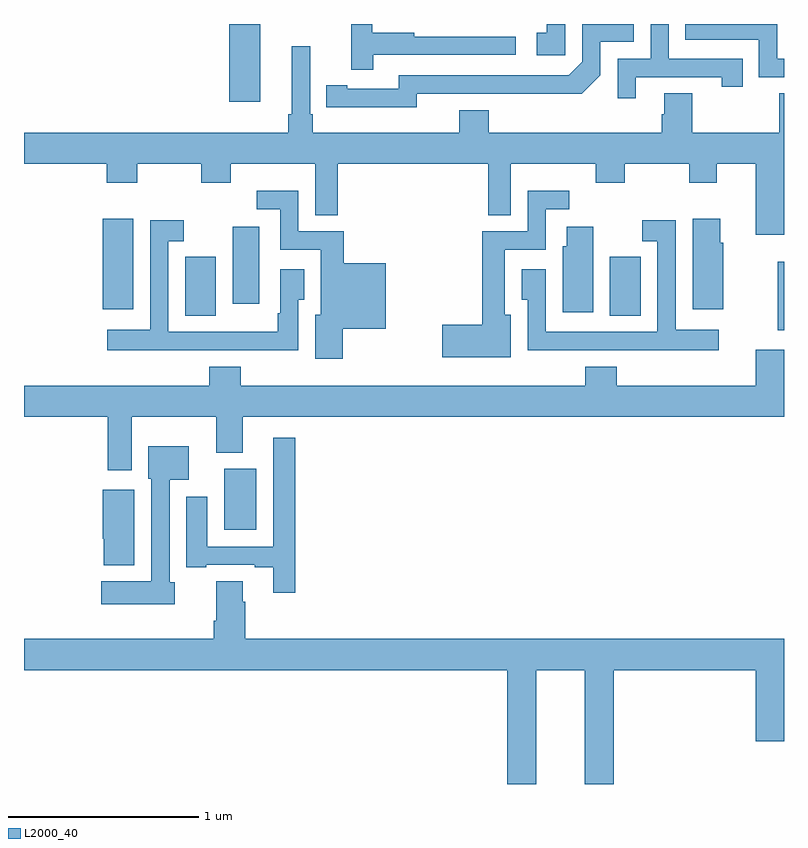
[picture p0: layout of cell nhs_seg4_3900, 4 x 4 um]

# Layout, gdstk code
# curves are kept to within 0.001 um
import gdstk
lib = gdstk.Library(unit=1e-6, precision=1e-09)
def R(c, l, rs):  # rectangles x0, y0, x1, y1
    for r in rs: c.add(gdstk.rectangle(r[:2], r[2:], *l))
def P(c, l, *ps):  # polygons
    for p in ps: c.add(gdstk.Polygon(p, *l))
L2000_40 = (2000, 40)

nhs_seg4_3900 = lib.new_cell('nhs_seg4_3900')
R(nhs_seg4_3900, L2000_40, [(318.053,784.238,318.223,784.558), (320.966,785.289,321,785.648), (317.849,785.365,318.01,785.676), (320.084,785.365,320.245,785.676), (317.414,785.4,317.575,785.875), (318.098,785.427,318.238,785.833), (318.08,786.492,318.244,786.9)])
P(nhs_seg4_3900, L2000_40, [(320.221,786.621),(320.672,786.621),(320.672,786.57),(320.783,786.57),(320.783,786.717),(320.394,786.717),(320.394,786.9),(320.298,786.9),(320.298,786.717),(320.124,786.717),(320.124,786.51),(320.221,786.51)],
  [(319.848,786.9),(319.751,786.9),(319.751,786.855),(319.698,786.855),(319.698,786.735),(319.848,786.735)],
  [(319.068,786.534),(319.936,786.533),(320.034,786.63),(320.034,786.807),(320.208,786.807),(320.208,786.9),(319.938,786.9),(319.938,786.702),(319.866,786.63),(318.972,786.63),(318.972,786.558),(318.7,786.558),(318.7,786.578),(318.592,786.578),(318.592,786.462),(319.068,786.461)],
  [(318.839,786.738),(319.588,786.738),(319.588,786.834),(319.055,786.834),(319.055,786.854),(318.832,786.854),(318.832,786.9),(318.722,786.9),(318.722,786.66),(318.839,786.66)],
  [(321,786.717),(320.964,786.717),(320.964,786.9),(320.479,786.9),(320.479,786.816),(320.868,786.816),(320.868,786.621),(321,786.621)],
  [(321,786.536),(320.974,786.536),(320.974,786.328),(320.517,786.328),(320.517,786.536),(320.369,786.536),(320.369,786.426),(320.357,786.426),(320.357,786.328),(319.445,786.328),(319.445,786.445),(319.292,786.445),(319.292,786.328),(318.521,786.328),(318.521,786.424),(318.507,786.424),(318.507,786.784),(318.41,786.784),(318.41,786.424),(318.391,786.424),(318.391,786.328),(317,786.328),(317,786.164),(317.435,786.164),(317.435,786.065),(317.595,786.065),(317.595,786.164),(317.932,786.164),(317.932,786.065),(318.087,786.065),(318.087,786.164),(318.533,786.164),(318.533,785.893),(318.652,785.893),(318.652,786.164),(319.443,786.164),(319.443,785.893),(319.561,785.893),(319.561,786.164),(320.008,786.164),(320.008,786.065),(320.163,786.065),(320.163,786.164),(320.5,786.164),(320.5,786.065),(320.647,786.065),(320.647,786.164),(320.852,786.164),(320.852,785.79),(321,785.79)],
  [(319.561,785.371),(319.531,785.371),(319.531,785.712),(319.746,785.712),(319.746,785.925),(319.87,785.925),(319.87,786.022),(319.65,786.022),(319.65,785.808),(319.413,785.808),(319.413,785.318),(319.2,785.318),(319.2,785.147),(319.561,785.147)],
  [(318.677,785.297),(318.904,785.297),(318.904,785.641),(318.682,785.641),(318.682,785.808),(318.444,785.808),(318.444,786.022),(318.225,786.022),(318.225,785.925),(318.348,785.925),(318.348,785.712),(318.563,785.712),(318.563,785.371),(318.533,785.371),(318.533,785.139),(318.677,785.139)],
  [(320.68,785.748),(320.665,785.748),(320.665,785.875),(320.519,785.875),(320.519,785.4),(320.68,785.4)],
  [(319.871,785.184),(320.237,785.184),(320.237,785.183),(320.656,785.183),(320.656,785.29),(320.43,785.29),(320.43,785.866),(320.253,785.866),(320.253,785.757),(320.334,785.757),(320.334,785.28),(319.746,785.28),(319.746,785.608),(319.619,785.608),(319.619,785.449),(319.65,785.449),(319.65,785.183),(319.871,785.183)],
  [(317.857,785.184),(318.223,785.184),(318.223,785.183),(318.444,785.183),(318.444,785.449),(318.475,785.449),(318.475,785.608),(318.348,785.608),(318.348,785.377),(318.336,785.377),(318.336,785.281),(318.106,785.281),(318.106,785.28),(317.76,785.28),(317.76,785.757),(317.842,785.757),(317.842,785.866),(317.664,785.866),(317.664,785.29),(317.439,785.29),(317.439,785.183),(317.857,785.183)],
  [(319.996,785.833),(319.856,785.833),(319.856,785.73),(319.835,785.73),(319.835,785.382),(319.996,785.382)],
  [(317.566,784.832),(318.011,784.832),(318.011,784.643),(318.151,784.643),(318.151,784.832),(321,784.832),(321,785.185),(320.852,785.185),(320.852,784.996),(320.12,784.996),(320.12,785.095),(319.955,785.095),(319.955,784.996),(318.14,784.996),(318.14,785.095),(317.975,785.095),(317.975,784.996),(317,784.996),(317,784.832),(317.441,784.832),(317.441,784.551),(317.566,784.551)],
  [(318.428,784.723),(318.312,784.723),(318.312,784.149),(317.965,784.149),(317.965,784.411),(317.855,784.411),(317.855,784.041),(317.959,784.041),(317.959,784.053),(318.215,784.053),(318.215,784.041),(318.311,784.041),(318.311,783.906),(318.428,783.906)],
  [(317.794,783.963),(317.766,783.963),(317.766,784.502),(317.866,784.502),(317.866,784.678),(317.654,784.678),(317.654,784.506),(317.67,784.506),(317.67,783.967),(317.406,783.967),(317.406,783.845),(317.794,783.845)],
  [(317.581,784.45),(317.414,784.45),(317.414,784.191),(317.42,784.191),(317.42,784.052),(317.581,784.052)],
  [(319.696,783.5),(319.952,783.5),(319.952,782.9),(320.105,782.9),(320.105,783.5),(320.852,783.5),(320.852,783.126),(321,783.126),(321,783.664),(318.164,783.664),(318.164,783.86),(318.151,783.86),(318.151,783.968),(318.011,783.968),(318.011,783.76),(317.999,783.76),(317.999,783.664),(317,783.664),(317,783.5),(319.544,783.5),(319.544,782.9),(319.696,782.9)])

lib.write_gds('nhs_seg4_3900.gds')
